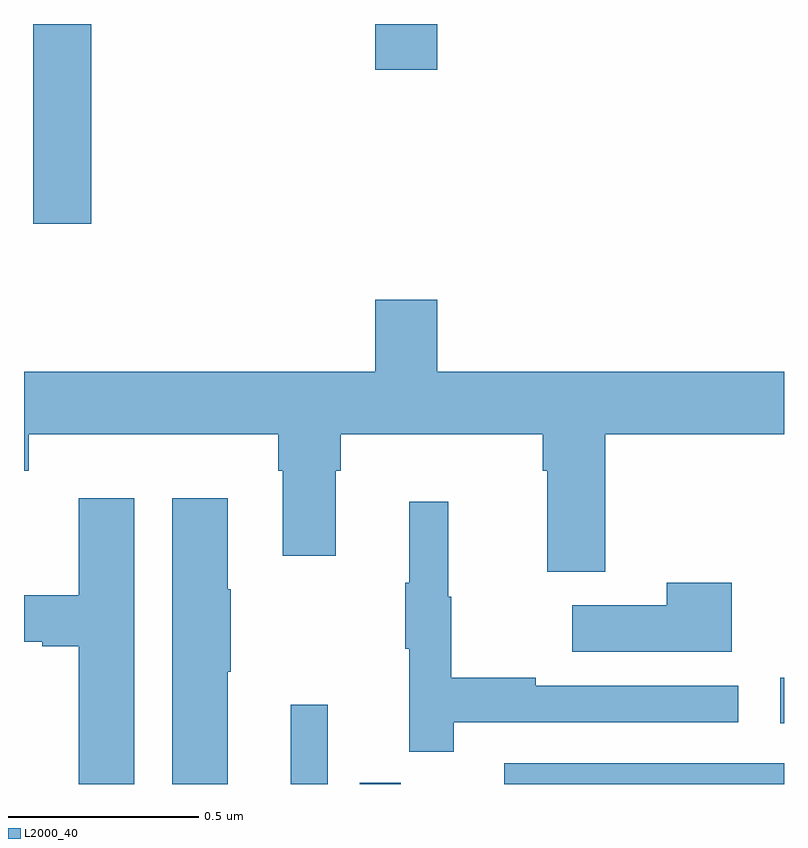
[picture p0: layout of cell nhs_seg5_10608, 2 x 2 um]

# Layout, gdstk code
import gdstk
lib = gdstk.Library(unit=1e-6, precision=1e-09)
def R(c, l, rs):  # rectangles x0, y0, x1, y1
    for r in rs: c.add(gdstk.rectangle(r[:2], r[2:], *l))
def P(c, l, *ps):  # polygons
    for p in ps: c.add(gdstk.Polygon(p, *l))
L2000_40 = (2000, 40)

nhs_seg5_10608 = lib.new_cell('nhs_seg5_10608')
R(nhs_seg5_10608, L2000_40, [(248.702,895.799,248.799,896.008), (248.884,895.799,248.992,895.802), (249.264,895.799,250,895.854), (249.99,895.959,250,896.079), (248.024,897.273,248.177,897.799), (248.924,897.678,249.088,897.799)])
P(nhs_seg5_10608, L2000_40, [(249.53,896.72),(250,896.72),(250,896.884),(249.088,896.884),(249.088,897.073),(248.924,897.073),(248.924,896.884),(248,896.884),(248,896.624),(248.012,896.624),(248.012,896.72),(248.669,896.72),(248.669,896.624),(248.681,896.624),(248.681,896.4),(248.821,896.4),(248.821,896.624),(248.834,896.624),(248.834,896.72),(249.365,896.72),(249.365,896.624),(249.377,896.624),(249.377,896.358),(249.53,896.358)],
  [(248.536,896.095),(248.544,896.095),(248.544,896.312),(248.536,896.312),(248.536,896.551),(248.39,896.551),(248.39,895.799),(248.536,895.799)],
  [(248.29,896.551),(248.144,896.551),(248.144,896.296),(248,896.296),(248,896.174),(248.048,896.174),(248.048,896.162),(248.144,896.162),(248.144,895.799),(248.29,895.799)],
  [(249.131,895.962),(249.88,895.962),(249.88,896.058),(249.347,896.058),(249.347,896.078),(249.124,896.078),(249.124,896.292),(249.116,896.292),(249.116,896.542),(249.014,896.542),(249.014,896.329),(249.003,896.329),(249.003,896.155),(249.014,896.155),(249.014,895.884),(249.131,895.884)],
  [(249.862,896.329),(249.692,896.329),(249.692,896.269),(249.443,896.269),(249.443,896.147),(249.862,896.147)])

lib.write_gds('nhs_seg5_10608.gds')
